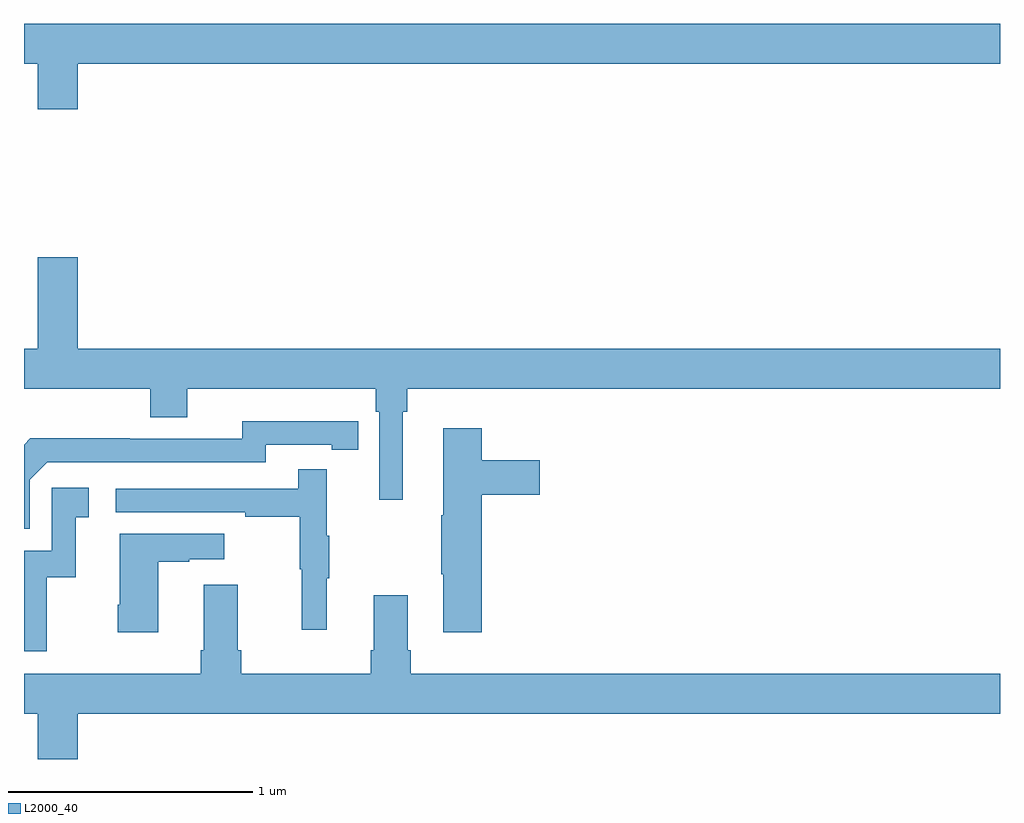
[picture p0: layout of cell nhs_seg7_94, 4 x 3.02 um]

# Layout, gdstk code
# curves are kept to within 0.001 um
import gdstk
lib = gdstk.Library(unit=1e-6, precision=1e-09)
def P(c, l, *ps):  # polygons
    for p in ps: c.add(gdstk.Polygon(p, *l))
L2000_40 = (2000, 40)

nhs_seg7_94 = lib.new_cell('nhs_seg7_94')
P(nhs_seg7_94, L2000_40, [(117.22,1043.24),(121,1043.24),(121,1043.404),(117,1043.404),(117,1043.24),(117.056,1043.24),(117.056,1043.052),(117.22,1043.052)],
  [(118.552,1041.812),(118.571,1041.812),(118.571,1041.908),(121,1041.908),(121,1042.072),(117.22,1042.072),(117.22,1042.447),(117.056,1042.447),(117.056,1042.072),(117,1042.072),(117,1041.908),(117.518,1041.908),(117.518,1041.791),(117.67,1041.791),(117.67,1041.908),(118.442,1041.908),(118.442,1041.812),(118.455,1041.812),(118.455,1041.453),(118.552,1041.453)],
  [(117.024,1041.534),(117.096,1041.606),(117.99,1041.606),(117.99,1041.678),(118.262,1041.678),(118.262,1041.658),(118.37,1041.658),(118.37,1041.774),(117.894,1041.775),(117.894,1041.702),(117.434,1041.702),(117.434,1041.704),(117.026,1041.704),(117,1041.678),(117,1041.333),(117.024,1041.333)],
  [(118.877,1041.473),(119.113,1041.473),(119.113,1041.615),(118.877,1041.615),(118.877,1041.745),(118.718,1041.745),(118.718,1041.389),(118.711,1041.389),(118.711,1041.148),(118.718,1041.148),(118.718,1040.91),(118.877,1040.91)],
  [(118.241,1041.131),(118.252,1041.131),(118.252,1041.305),(118.241,1041.305),(118.241,1041.577),(118.123,1041.577),(118.123,1041.498),(117.375,1041.498),(117.375,1041.402),(117.907,1041.402),(117.907,1041.382),(118.131,1041.382),(118.131,1041.168),(118.138,1041.168),(118.138,1040.919),(118.241,1040.919)],
  [(117.094,1041.135),(117.212,1041.135),(117.212,1041.381),(117.265,1041.381),(117.265,1041.502),(117.114,1041.502),(117.114,1041.243),(117,1041.243),(117,1040.832),(117.094,1040.832)],
  [(117.55,1041.199),(117.677,1041.199),(117.677,1041.209),(117.82,1041.209),(117.82,1041.313),(117.392,1041.313),(117.392,1041.022),(117.385,1041.022),(117.385,1040.91),(117.55,1040.91)],
  [(117.22,1040.576),(121,1040.576),(121,1040.74),(118.586,1040.74),(118.586,1040.836),(118.573,1040.836),(118.573,1041.061),(118.433,1041.061),(118.433,1040.836),(118.421,1040.836),(118.421,1040.74),(117.89,1040.74),(117.89,1040.836),(117.877,1040.836),(117.877,1041.103),(117.737,1041.103),(117.737,1040.836),(117.725,1040.836),(117.725,1040.74),(117,1040.74),(117,1040.576),(117.056,1040.576),(117.056,1040.388),(117.22,1040.388)])

lib.write_gds('nhs_seg7_94.gds')
